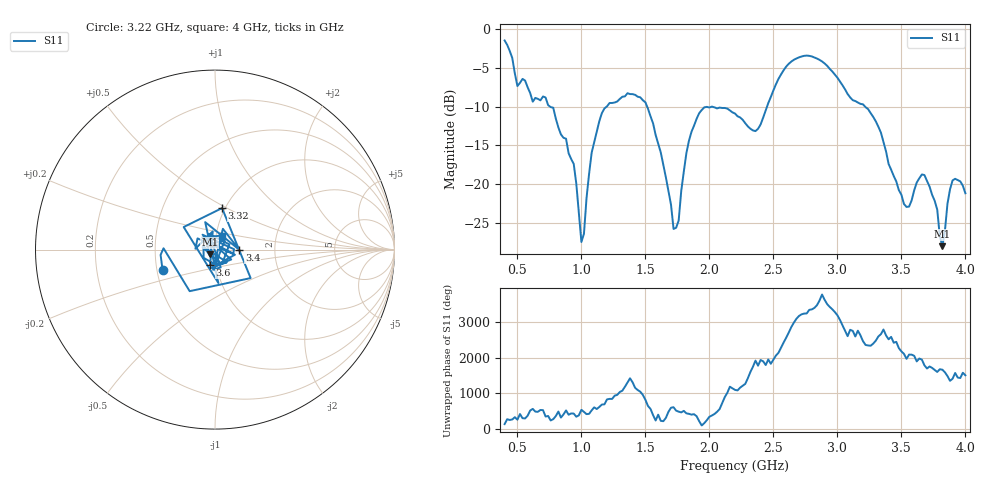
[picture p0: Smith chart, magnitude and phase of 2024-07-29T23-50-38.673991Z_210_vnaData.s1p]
!Created with skrf (http://scikit-rf.org).
# Hz S RI R 50.0
!freq ReS11 ImS11
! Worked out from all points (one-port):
!   181 points, 400 MHz to 4 GHz, reference 50 ohm
!   lowest |S11| = -28.0 dB at 3.82 GHz (marker M1), VSWR 1.08, Z = 47.1 - j2.55 ohm
!   |S11| at or under -10 dB: 754.7 MHz to 1.198 GHz (443.1 MHz wide, 45.4 % of centre); 1.513 GHz to 2.45 GHz (936.9 MHz wide, 47.3 % of centre); 3.216 GHz to end of sweep
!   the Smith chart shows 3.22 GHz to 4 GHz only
!   S11 on the Smith chart (normalised r, x): 3.22 GHz: 0.54, -0.14; 3.32 GHz: 0.97, +0.47; 3.4 GHz: 1.31, -0.00; 3.6 GHz: 0.93, -0.16; 4 GHz: 1.07, +0.17
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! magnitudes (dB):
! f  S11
! 400 MHz  -1.5
! 500 MHz  -7.4
! 720 MHz  -8.8
! 860 MHz  -14.0
! 940 MHz  -17.4
! 1 GHz  -27.5
! 1.08 GHz  -16.0
! 1.14 GHz  -11.9
! 1.3 GHz  -9.0
! 1.5 GHz  -9.5
! 1.62 GHz  -15.9
! 1.72 GHz  -25.8
! 1.76 GHz  -24.7
! 1.82 GHz  -16.0
! 1.92 GHz  -10.9
! 2.2 GHz  -10.9
! 2.38 GHz  -12.9
! 2.66 GHz  -4.0
! 3.1 GHz  -8.8
! 3.22 GHz  -10.1
! 3.32 GHz  -12.6
! 3.4 GHz  -17.4
! 3.56 GHz  -22.9
! 3.6 GHz  -20.8
! 3.68 GHz  -18.8
! 3.82 GHz  -28.0
! 3.9 GHz  -19.5
! 4 GHz  -21.2
